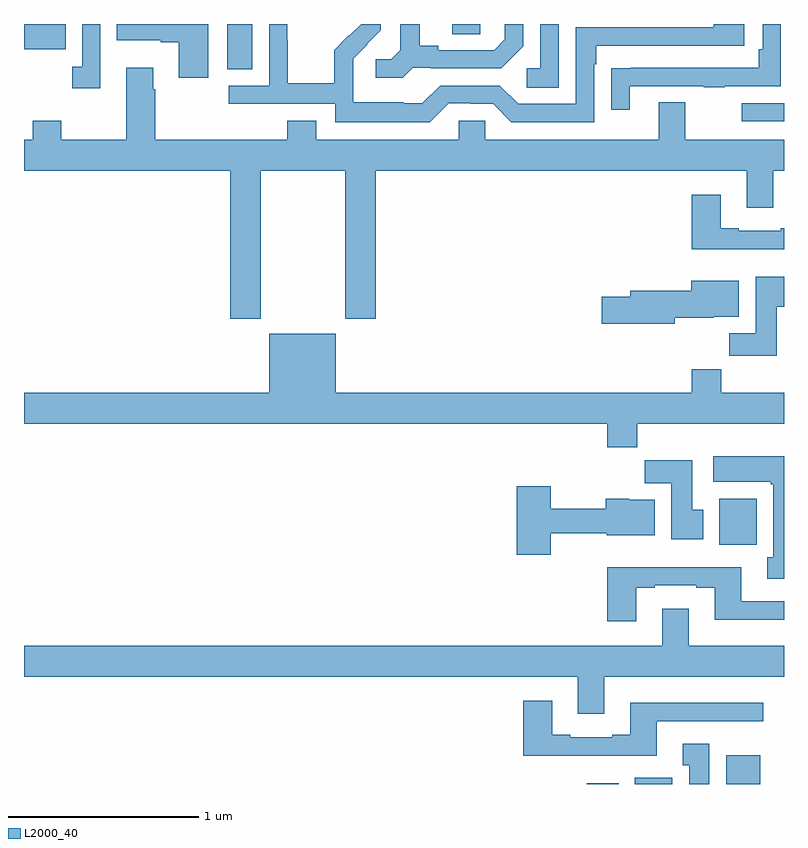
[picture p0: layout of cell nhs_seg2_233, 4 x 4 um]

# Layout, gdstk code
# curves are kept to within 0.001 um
import gdstk
lib = gdstk.Library(unit=1e-6, precision=1e-09)
def R(c, l, rs):  # rectangles x0, y0, x1, y1
    for r in rs: c.add(gdstk.rectangle(r[:2], r[2:], *l))
def P(c, l, *ps):  # polygons
    for p in ps: c.add(gdstk.Polygon(p, *l))
L2000_40 = (2000, 40)

nhs_seg2_233 = lib.new_cell('nhs_seg2_233')
R(nhs_seg2_233, L2000_40, [(125.963,585.8,126.13,585.805), (126.215,585.8,126.412,585.832), (126.695,585.8,126.874,585.952), (126.659,587.06,126.856,587.302), (126.777,589.287,127,589.383), (124.07,589.561,124.201,589.8), (123,589.666,123.221,589.8), (125.255,589.747,125.4,589.8)])
P(nhs_seg2_233, L2000_40, [(123.402,589.8),(123.306,589.8),(123.306,589.574),(123.255,589.574),(123.255,589.461),(123.402,589.461)],
  [(126.187,589.473),(126.577,589.473),(126.577,589.468),(126.689,589.468),(126.689,589.473),(126.984,589.473),(126.984,589.8),(126.888,589.8),(126.888,589.666),(126.868,589.666),(126.868,589.569),(126.193,589.569),(126.193,589.568),(126.091,589.568),(126.091,589.35),(126.187,589.35)],
  [(125.814,589.8),(125.718,589.8),(125.718,589.566),(125.646,589.566),(125.646,589.465),(125.814,589.465)],
  [(125.046,589.569),(125.14,589.569),(125.14,589.566),(125.512,589.566),(125.628,589.682),(125.628,589.8),(125.531,589.8),(125.531,589.719),(125.474,589.662),(125.179,589.662),(125.179,589.685),(125.083,589.685),(125.083,589.8),(124.979,589.8),(124.979,589.661),(124.932,589.614),(124.851,589.614),(124.851,589.517),(124.994,589.517)],
  [(123.97,589.8),(123.489,589.8),(123.489,589.715),(123.719,589.715),(123.719,589.703),(123.815,589.703),(123.815,589.518),(123.97,589.518)],
  [(125.235,589.383),(125.351,589.383),(125.351,589.38),(125.469,589.38),(125.565,589.284),(126,589.284),(126,589.589),(126.013,589.589),(126.013,589.686),(126.79,589.686),(126.79,589.8),(126.629,589.8),(126.629,589.782),(125.904,589.782),(125.904,589.38),(125.601,589.38),(125.505,589.476),(125.19,589.476),(125.097,589.383),(124.997,589.383),(124.997,589.387),(124.734,589.387),(124.734,589.521),(124.732,589.521),(124.732,589.618),(124.878,589.766),(124.878,589.8),(124.776,589.8),(124.713,589.737),(124.71,589.74),(124.633,589.663),(124.633,589.489),(124.389,589.489),(124.389,589.712),(124.386,589.712),(124.386,589.8),(124.29,589.8),(124.29,589.476),(124.077,589.476),(124.077,589.38),(124.638,589.38),(124.638,589.283),(125.135,589.283)],
  [(124.245,589.028),(124.69,589.028),(124.69,588.249),(124.85,588.249),(124.85,589.028),(126.803,589.028),(126.803,588.834),(126.943,588.834),(126.943,589.028),(127,589.028),(127,589.192),(126.481,589.192),(126.481,589.387),(126.341,589.387),(126.341,589.192),(125.427,589.192),(125.427,589.29),(125.289,589.29),(125.289,589.192),(124.537,589.192),(124.537,589.291),(124.385,589.291),(124.385,589.192),(123.692,589.192),(123.692,589.457),(123.679,589.457),(123.679,589.57),(123.539,589.57),(123.539,589.192),(123.195,589.192),(123.195,589.291),(123.047,589.291),(123.047,589.192),(123,589.192),(123,589.028),(124.085,589.028),(124.085,588.249),(124.245,588.249)],
  [(127,588.724),(126.983,588.724),(126.983,588.711),(126.763,588.711),(126.763,588.724),(126.667,588.724),(126.667,588.901),(126.515,588.901),(126.515,588.614),(127,588.614)],
  [(126.961,588.313),(127,588.313),(127,588.469),(126.851,588.469),(126.851,588.172),(126.712,588.172),(126.712,588.054),(126.961,588.054)],
  [(126.426,588.254),(126.63,588.254),(126.63,588.26),(126.763,588.26),(126.763,588.448),(126.512,588.448),(126.512,588.395),(126.191,588.395),(126.191,588.365),(126.042,588.365),(126.042,588.223),(126.426,588.223)],
  [(126.227,587.696),(127,587.696),(127,587.86),(126.671,587.86),(126.671,587.984),(126.515,587.984),(126.515,587.86),(124.642,587.86),(124.642,588.169),(124.292,588.169),(124.292,587.86),(123,587.86),(123,587.696),(126.071,587.696),(126.071,587.572),(126.227,587.572)],
  [(127,587.524),(126.627,587.524),(126.627,587.39),(126.931,587.39),(126.931,587.377),(126.944,587.377),(126.944,586.994),(126.911,586.994),(126.911,586.881),(127,586.881)],
  [(126.574,587.244),(126.517,587.244),(126.517,587.503),(126.268,587.503),(126.268,587.384),(126.407,587.384),(126.407,587.088),(126.574,587.088)],
  [(125.772,587.119),(126.068,587.119),(126.068,587.108),(126.319,587.108),(126.319,587.296),(126.186,587.296),(126.186,587.302),(126.061,587.302),(126.061,587.248),(125.772,587.248),(125.772,587.368),(125.594,587.368),(125.594,587.007),(125.772,587.007)],
  [(126.223,586.833),(126.319,586.833),(126.319,586.845),(126.539,586.845),(126.539,586.833),(126.635,586.833),(126.635,586.664),(127,586.664),(127,586.761),(126.775,586.761),(126.775,586.942),(126.071,586.942),(126.071,586.656),(126.223,586.656)],
  [(126.055,586.364),(127,586.364),(127,586.528),(126.499,586.528),(126.499,586.723),(126.359,586.723),(126.359,586.528),(123,586.528),(123,586.364),(125.915,586.364),(125.915,586.17),(126.055,586.17)],
  [(126.331,586.131),(126.892,586.131),(126.892,586.228),(126.191,586.228),(126.191,586.06),(126.095,586.06),(126.095,586.047),(125.875,586.047),(125.875,586.06),(125.779,586.06),(125.779,586.237),(125.627,586.237),(125.627,585.95),(126.331,585.95)],
  [(126.607,586.012),(126.467,586.012),(126.467,585.899),(126.5,585.899),(126.5,585.8),(126.607,585.8)])

lib.write_gds('nhs_seg2_233.gds')
